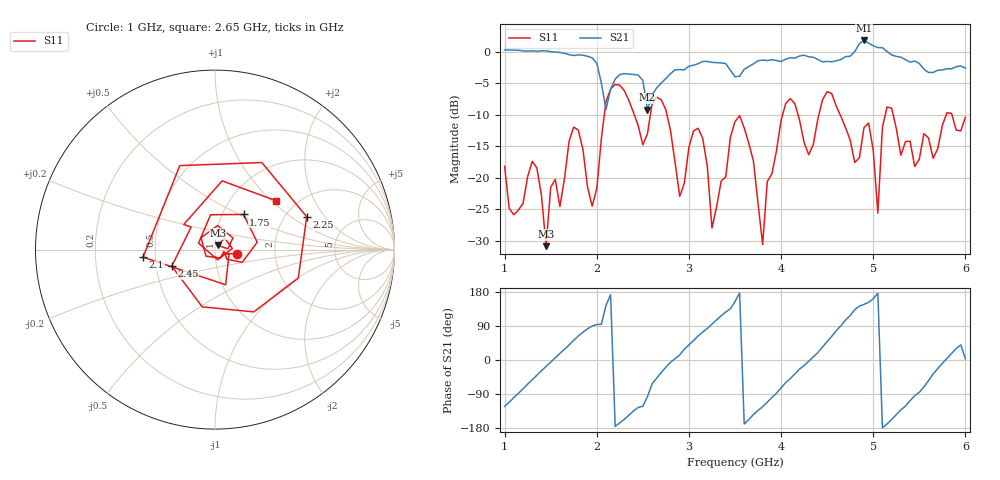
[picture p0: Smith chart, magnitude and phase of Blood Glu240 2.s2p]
! NanoVNA-App
! Date: 2024-03-21 01:55:43
! Start: 1GHz Stop: 6GHz Points: 101
! S-Parameter data: F S11 S21 S12 S22
# Hz S RI R 50
!	Frequency	S11_Real	S11_Imag	S21_Real	S21_Imag	S12_Real	S12_Imag	S22_Real	S22_Imag
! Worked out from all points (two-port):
!   101 points, 1 GHz to 6 GHz, reference 50 ohm
!   highest |S21| = 1.82 dB at 4.9 GHz (marker M1); lowest = -9.2 dB at 2.55 GHz (marker M2)
!   |S21| within 3 dB of the highest: start of sweep to 1.963 GHz; 4.653 GHz to 5.343 GHz (690.1 MHz wide, 13.8 % of centre)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
!   lowest |S11| = -30.9 dB at 1.45 GHz (marker M3), VSWR 1.06, Z = 51.7 + j2.37 ohm
!   |S11| at or under -10 dB: start of sweep to 2.082 GHz; 2.762 GHz to 4.016 GHz (1.255 GHz wide, 37 % of centre); 5.216 GHz to 5.792 GHz (575.7 MHz wide, 10.5 % of centre)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
!   S12 and S22 are empty: the file has one direction only
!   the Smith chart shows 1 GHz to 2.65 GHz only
!   S11 on the Smith chart (normalised r, x): 1 GHz: 1.27, -0.06; 1.75 GHz: 1.26, +0.53; 2.1 GHz: 0.43, -0.04; 2.25 GHz: 2.59, +1.34; 2.45 GHz: 0.60, -0.12; 2.65 GHz: 1.59, +1.07
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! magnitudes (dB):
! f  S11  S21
! 1 GHz  -18.2  0.3
! 1.45 GHz  -30.9  0.2
! 1.75 GHz  -12.0  -0.6
! 1.85 GHz  -15.5  -0.5
! 1.95 GHz  -24.5  -1.0
! 2.1 GHz  -7.9  -9.2
! 2.25 GHz  -5.3  -3.6
! 2.45 GHz  -11.8  -3.7
! 2.55 GHz  -13.0  -9.2
! 2.65 GHz  -7.2  -5.7
! 2.7 GHz  -7.6  -5.0
! 2.9 GHz  -23.0  -2.8
! 3.15 GHz  -13.8  -1.5
! 3.25 GHz  -28.0  -1.7
! 3.5 GHz  -11.1  -4.0
! 3.8 GHz  -30.6  -1.3
! 4.05 GHz  -8.2  -1.2
! 4.35 GHz  -14.7  -0.9
! 4.9 GHz  -12.0  1.8
! 5.05 GHz  -25.6  0.7
! 5.2 GHz  -8.9  -0.5
! 6 GHz  -10.4  -2.6
